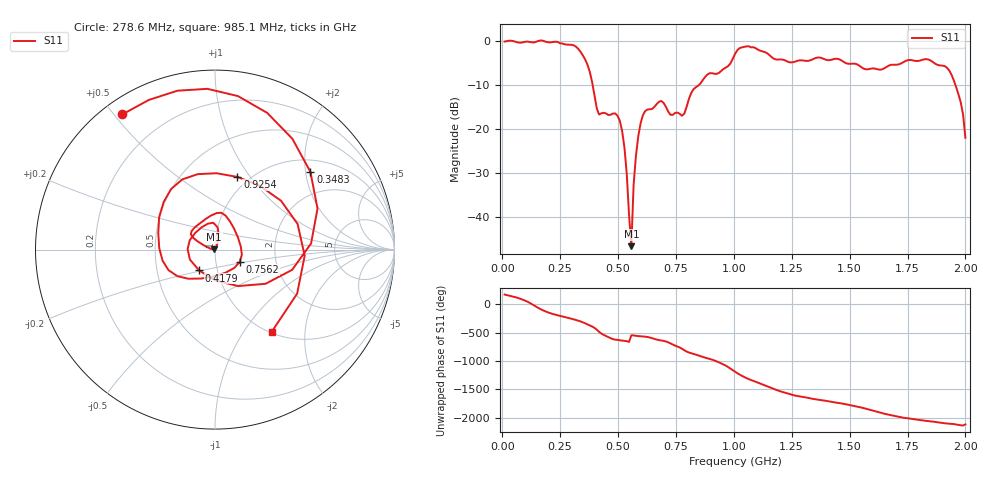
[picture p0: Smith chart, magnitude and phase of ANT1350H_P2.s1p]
!Created with skrf (http://scikit-rf.org).
# Hz S RI R 50.0
!freq ReS11 ImS11
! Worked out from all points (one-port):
!   201 points, 10 MHz to 2 GHz, reference 50 ohm
!   lowest |S11| = -46.7 dB at 557.2 MHz (marker M1), VSWR 1.01, Z = 49.5 + j0.0733 ohm
!   |S11| at or under -10 dB: 390.2 MHz to 848.7 MHz (458.5 MHz wide, 74 % of centre); 1.957 GHz to end of sweep
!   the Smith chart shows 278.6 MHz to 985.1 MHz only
!   S11 on the Smith chart (normalised r, x): 278.6 MHz: 0.06, +0.53; 348.3 MHz: 1.30, +2.13; 417.9 MHz: 0.82, -0.19; 756.2 MHz: 1.30, -0.18; 925.4 MHz: 0.88, +0.87; 985.1 MHz: 1.01, -1.35
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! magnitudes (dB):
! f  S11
! 10 MHz  -0.1
! 258.8 MHz  -0.5
! 278.6 MHz  -0.8
! 348.3 MHz  -3.3
! 378.1 MHz  -7.0
! 417.9 MHz  -16.7
! 507.5 MHz  -18.1
! 527.4 MHz  -24.2
! 557.2 MHz  -46.7
! 567.2 MHz  -32.7
! 577.1 MHz  -26.2
! 607 MHz  -16.9
! 686.6 MHz  -13.6
! 756.2 MHz  -16.3
! 786.1 MHz  -16.5
! 816 MHz  -11.8
! 885.6 MHz  -7.6
! 925.4 MHz  -7.5
! 985.1 MHz  -5.1
! 1.005 GHz  -2.9
! 1.065 GHz  -1.2
! 1.254 GHz  -4.8
! 1.502 GHz  -5.2
! 1.632 GHz  -6.5
! 1.751 GHz  -4.3
! 1.93 GHz  -6.7
! 1.98 GHz  -14.0
! 2 GHz  -22.0
